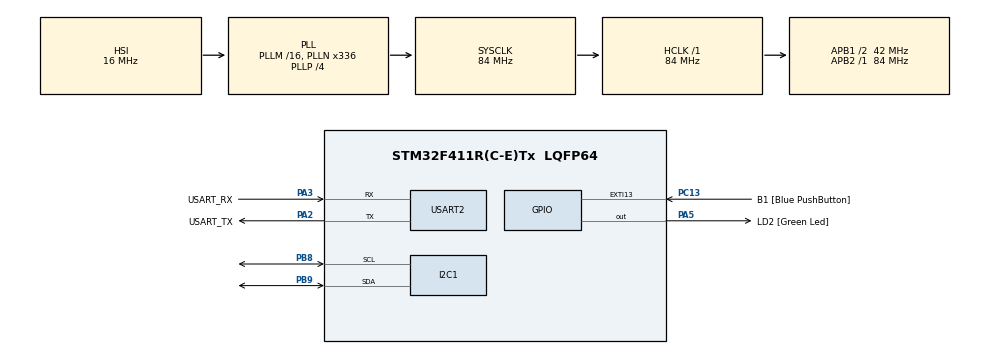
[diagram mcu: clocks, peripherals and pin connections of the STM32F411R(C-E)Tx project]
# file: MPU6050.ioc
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Mcu.Family=STM32F4
Mcu.Name=STM32F411R(C-E)Tx
Mcu.Package=LQFP64
NVIC.PriorityGroup=NVIC_PRIORITYGROUP_0
PA13.GPIO_Label=TMS
PA13.Mode=Serial_Wire
PA13.Signal=SYS_JTMS-SWDIO
PA14.GPIO_Label=TCK
PA14.Mode=Serial_Wire
PA14.Signal=SYS_JTCK-SWCLK
PA2.GPIO_Label=USART_TX
PA2.Mode=Asynchronous
PA2.Signal=USART2_TX
PA3.GPIO_Label=USART_RX
PA3.Mode=Asynchronous
PA3.Signal=USART2_RX
PA5.GPIO_Label=LD2 [Green Led]
PA5.Signal=GPIO_Output
PB3.GPIO_Label=SWO
PB3.Signal=SYS_JTDO-SWO
PB8.Mode=I2C
PB8.Signal=I2C1_SCL
PB9.Mode=I2C
PB9.Signal=I2C1_SDA
PC13-ANTI_TAMP.GPIO_Label=B1 [Blue PushButton]
PC13-ANTI_TAMP.GPIO_ModeDefaultEXTI=GPIO_MODE_IT_FALLING
PC13-ANTI_TAMP.Signal=GPXTI13
PC14-OSC32_IN.Mode=LSE-External-Oscillator
PC14-OSC32_IN.Signal=RCC_OSC32_IN
PC15-OSC32_OUT.Mode=LSE-External-Oscillator
PC15-OSC32_OUT.Signal=RCC_OSC32_OUT
PH0\ -\ OSC_IN.Mode=HSE-External-Clock-Source
PH0\ -\ OSC_IN.Signal=RCC_OSC_IN
PH1\ -\ OSC_OUT.Mode=HSE-External-Clock-Source
PH1\ -\ OSC_OUT.Signal=RCC_OSC_OUT
ProjectManager.HeapSize=0x200
ProjectManager.StackSize=0x400
ProjectManager.TargetToolchain=STM32CubeIDE
RCC.48MHZClocksFreq_Value=84000000
RCC.AHBFreq_Value=84000000
RCC.APB1CLKDivider=RCC_HCLK_DIV2
RCC.APB1Freq_Value=42000000
RCC.APB1TimFreq_Value=84000000
RCC.APB2Freq_Value=84000000
RCC.APB2TimFreq_Value=84000000
RCC.CortexFreq_Value=84000000
RCC.FLatency-AdvancedSettings=FLASH_LATENCY_2
RCC.HCLKFreq_Value=84000000
RCC.HSE_VALUE=8000000
RCC.HSI_VALUE=16000000
RCC.PLLN=336
RCC.PLLP=RCC_PLLP_DIV4
RCC.SYSCLKFreq_VALUE=84000000
RCC.SYSCLKSource=RCC_SYSCLKSOURCE_PLLCLK
RCC.VCOOutputFreq_Value=336000000
USART2.VirtualMode=VM_ASYNC
board=NUCLEO-F411RE

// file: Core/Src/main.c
/* USER CODE BEGIN Header */
/**
  ******************************************************************************
  * @file           : main.c
  * @brief          : Main program body
  ******************************************************************************
  * @attention
  *
  * Copyright (c) 2026 STMicroelectronics.
  * All rights reserved.
  *
  * This software is licensed under terms that can be found in the LICENSE file
  * in the root directory of this software component.
  * If no LICENSE file comes with this software, it is provided AS-IS.
  *
  ******************************************************************************
  */
/* USER CODE END Header */
#include "main.h"
#include "i2c.h"
#include "usart.h"
#include "gpio.h"

/* USER CODE BEGIN Includes */
#include <stdio.h>
#include <string.h>
/* USER CODE END Includes */

/* USER CODE BEGIN PD */
#define SR2_BUSY	(1U<<1)
#define CR1_START	(1U<<8)
#define SR1_SB		(1U<<0)
#define SR1_ADDR	(1U<<1)
#define SR1_TXE		(1U<<7)
#define CR1_ACK		(1U<<10)
#define CR1_STOP	(1U<<9)
#define SR1_RXNE	(1U<<6)
#define SR1_BTF		(1U<<2)
/*
* PB8 ----- SCL
* PB9 ----- SDA
* */
/* USER CODE END PD */

/* USER CODE BEGIN PV */
// массив данных
// [accX, accY, accZ, temp, gyrX, gyrY, gyrZ]
// acc - ускорение, gyr - угловая скорость, temp - температура (raw)
int16_t data[7];
/* USER CODE END PV */

void SystemClock_Config(void);
/* USER CODE BEGIN PFP */
int I2C1_byteRead(char saddr, char maddr, uint8_t* data);
int I2C1_byteWrite(char saddr, char maddr, uint8_t* data);

void i2c1_byte_read(char saddr, char maddr, char* data);
void i2c1_burst_read(char saddr, char maddr, int n, char* data);
void i2c1_burst_write(char saddr, char maddr, int n, char* data);
/* USER CODE END PFP */

/* USER CODE BEGIN 0 */
const int MPU_addr = 0x68; // адрес датчика
#ifdef __GNUC__
#define PUTCHAR_PROTOTYPE int __io_putchar(int ch)
#else
#define PUTCHAR_PROTOTYPE int fputc(int ch, FILE *f)
#endif

PUTCHAR_PROTOTYPE
{
	HAL_UART_Transmit(&huart2, (uint8_t*)&ch, 1, HAL_MAX_DELAY);
	return ch;
}
/* USER CODE END 0 */

int main(void)
{

  /* MCU Configuration--------------------------------------------------------*/

  /* Reset of all peripherals, Initializes the Flash interface and the Systick. */
  HAL_Init();

  /* Configure the system clock */
  SystemClock_Config();

  /* Initialize all configured peripherals */
  MX_GPIO_Init();
  MX_I2C1_Init();
  MX_USART2_UART_Init();

  /* Infinite loop */
  /* USER CODE BEGIN WHILE */

#define PWR_MGMT_1_REG    0x6B
#define SMPLRT_DIV_REG    0x19
#define ACCEL_CONFIG_REG  0x1C
#define ACCEL_XOUT_H_REG  0x3B
#define ACCEL_YOUT_H_REG  0x3D
#define ACCEL_ZOUT_H_REG  0x3F
#define TEMP_OUT_H_REG    0x41
#define GYRO_CONFIG_REG   0x1B
#define GYRO_XOUT_H_REG   0x43
#define GYRO_YOUT_H_REG   0x45
#define GYRO_ZOUT_H_REG   0X47

	uint8_t Configure=0;
	I2C1_byteWrite(MPU_addr,PWR_MGMT_1_REG, &Configure);
	Configure=0x7;
	I2C1_byteWrite(MPU_addr,SMPLRT_DIV_REG, &Configure);
	Configure=0x00;
	I2C1_byteWrite(MPU_addr,ACCEL_CONFIG_REG,&Configure);
	Configure=0x00;
	I2C1_byteWrite(MPU_addr,GYRO_CONFIG_REG, &Configure);

  uint8_t temp_data = 0b000001000;
  HAL_StatusTypeDef ret;
//  ret = HAL_I2C_Mem_Write(&hi2c1, MPU_addr << 1, 27, 1, &temp_data, 1, 100);
//  if (ret == HAL_OK)
//  {
//	  printf("Configuring gyroscope\r\n");
//  }
//  else
//  {
//	  printf("Failed to configure gyroscope\r\n");
//  }
//
//  temp_data = 0b000001000;
//  ret = HAL_I2C_Mem_Write(&hi2c1, MPU_addr << 1, 28, 1, &temp_data, 1, 100);
//  if (ret == HAL_OK)
//  {
//	  printf("Configuring accelerometer\r\n");
//  }
//  else
//  {
//	  printf("Failed to configure acceleromter\r\n");
//  }
//
//    temp_data = 0;
//    ret = HAL_I2C_Mem_Write(&hi2c1, MPU_addr << 1, 107, 1, &temp_data, 1, 100);
//    if (ret == HAL_OK)
//    {
//  	  printf("Exiting from sleep mode\r\n");
//    }
//    else
//    {
//  	  printf("Failed to exit from sleep mode\r\n");
//    }

    uint8_t raw_data[14];
  while (1)
  {
	  HAL_I2C_Mem_Read(&hi2c1, (MPU_addr << 1) + 1, 59, 1, raw_data, 14, 100);
	  for (uint8_t i = 0; i < 7; ++i)
	  {
		  data[i] = ((int16_t)raw_data[i * 2] << 8) | (int16_t)raw_data[i * 2 + 1];
	  }
	  printf("Sensor data: \t%d\t%d\t%d\t%d\t%d\t%d\t%d\r\n",
			  data[0], data[1], data[2], data[3], data[4], data[5], data[6]);
	  HAL_Delay(200);
    /* USER CODE END WHILE */

  }
}

void SystemClock_Config(void)
{
  RCC_OscInitTypeDef RCC_OscInitStruct = {0};
  RCC_ClkInitTypeDef RCC_ClkInitStruct = {0};

  /** Configure the main internal regulator output voltage
  */
  __HAL_RCC_PWR_CLK_ENABLE();
  __HAL_PWR_VOLTAGESCALING_CONFIG(PWR_REGULATOR_VOLTAGE_SCALE1);

  /** Initializes the RCC Oscillators according to the specified parameters
  * in the RCC_OscInitTypeDef structure.
  */
  RCC_OscInitStruct.OscillatorType = RCC_OSCILLATORTYPE_HSI;
  RCC_OscInitStruct.HSIState = RCC_HSI_ON;
  RCC_OscInitStruct.HSICalibrationValue = RCC_HSICALIBRATION_DEFAULT;
  RCC_OscInitStruct.PLL.PLLState = RCC_PLL_ON;
  RCC_OscInitStruct.PLL.PLLSource = RCC_PLLSOURCE_HSI;
  RCC_OscInitStruct.PLL.PLLM = 16;
  RCC_OscInitStruct.PLL.PLLN = 336;
  RCC_OscInitStruct.PLL.PLLP = RCC_PLLP_DIV4;
  RCC_OscInitStruct.PLL.PLLQ = 4;
  if (HAL_RCC_OscConfig(&RCC_OscInitStruct) != HAL_OK)
  {
    Error_Handler();
  }

  /** Initializes the CPU, AHB and APB buses clocks
  */
  RCC_ClkInitStruct.ClockType = RCC_CLOCKTYPE_HCLK|RCC_CLOCKTYPE_SYSCLK
                              |RCC_CLOCKTYPE_PCLK1|RCC_CLOCKTYPE_PCLK2;
  RCC_ClkInitStruct.SYSCLKSource = RCC_SYSCLKSOURCE_PLLCLK;
  RCC_ClkInitStruct.AHBCLKDivider = RCC_SYSCLK_DIV1;
  RCC_ClkInitStruct.APB1CLKDivider = RCC_HCLK_DIV2;
  RCC_ClkInitStruct.APB2CLKDivider = RCC_HCLK_DIV1;

  if (HAL_RCC_ClockConfig(&RCC_ClkInitStruct, FLASH_LATENCY_2) != HAL_OK)
  {
    Error_Handler();
  }
}

/* USER CODE BEGIN 4 */
// from book, not working
void i2c1_byte_read(char saddr, char maddr, char* data) {
	volatile int tmp;

	/* Wait until bus not busy */
	while (I2C1->SR2 & (SR2_BUSY)){}

	/* Generate start */
	I2C1->CR1 |= CR1_START;

	/* Wait until start flag is set */
	while (!(I2C1->SR1 & (SR1_SB))){}

	/* Transmit slave address + Write */
	I2C1->DR = saddr << 1;

	/* Wait until addr flag is set */
	while (!(I2C1->SR1 & (SR1_ADDR))){}

	/* Clear addr flag */
	tmp = I2C1->SR2;

	/* Send memory address */
	I2C1->DR = maddr;

	/*Wait until transmitter empty */
	while (!(I2C1->SR1 & SR1_TXE)){}

	/*Generate restart */
	I2C1->CR1 |= CR1_START;

	/* Wait until start flag is set */
	while (!(I2C1->SR1 & SR1_SB)){}

	/* Transmit slave address + Read */
	I2C1->DR = saddr << 1 | 1;

	/* Wait until addr flag is set */
	while (!(I2C1->SR1 & (SR1_ADDR))){}

	/* Disable Acknowledge */
	I2C1->CR1 &= ~CR1_ACK;

	/* Clear addr flag */
	tmp = I2C1->SR2;

	/* Generate stop after data received */
	I2C1->CR1 |= CR1_STOP;

	/* Wait until RXNE flag is set */
	while (!(I2C1->SR1 & SR1_RXNE)){}

	/* Read data from DR */
	*data++ = I2C1->DR;
}

// from book, not working
void i2c1_burst_write(char saddr, char maddr, int n, char* data) {
	volatile int tmp;

	/* Wait until bus not busy */
	while (I2C1->SR2 & (SR2_BUSY)){}

	/* Generate start */
	I2C1->CR1 |= CR1_START;

	/* Wait until start flag is set */
	while (!(I2C1->SR1 & (SR1_SB))){}

	/* Transmit slave address */
	I2C1->DR = saddr << 1;

	/* Wait until addr flag is set */
	while (!(I2C1->SR1 & (SR1_ADDR))){}

	/* Clear addr flag */
	tmp = I2C1->SR2;

	/* Wait until data register empty */
	while (!(I2C1->SR1 & (SR1_TXE))){}

	/* Send memory address */
	I2C1->DR = maddr;

	for (int i = 0; i < n; i++) {
		/* Wait until data register empty */
		while (!(I2C1->SR1 & (SR1_TXE))){}

		/* Transmit memory address */
		I2C1->DR = *data++;
	}

	/* Wait until transfer finished */
	while (!(I2C1->SR1 & (SR1_BTF))){}

	/* Generate stop */
	I2C1->CR1 |= CR1_STOP;
}

// it works!
// https://github.com/ENG-EDISON/STM32_I2C1_I2C2_USART2_MPU6050_BareMetal
int I2C1_byteRead(char saddr, char maddr,uint8_t* data)
{
	volatile uint32_t tmp=0;
	while (I2C1->SR2 & I2C_SR2_BUSY);       /* wait until bus not busy */
	I2C1->CR1 |= I2C_CR1_START;             /* generate start */
	while (!(I2C1->SR1 & I2C_SR1_SB));      /* wait until start flag is set */
	I2C1->DR = (uint8_t)saddr<<1;           /* transmit slave address + Write */
	while (!(I2C1->SR1 & I2C_SR1_ADDR));    /* wait until addr flag is set */
	tmp = I2C1->SR1;                				/* clear addr flag */
	tmp = I2C1->SR2;
	while (!(I2C1->SR1 & I2C_SR1_TXE));   	/* wait until data register empty */
	I2C1->DR = maddr;               				/* send memory address */
	while (!(I2C1->SR1 & I2C_SR1_TXE));    	/* wait until data register empty */
	I2C1->CR1 |= 0x100;             				/* generate restart */
	while (!(I2C1->SR1 & I2C_SR1_SB));      /* wait until start flag is set */
	I2C1->DR =(uint8_t)(saddr<< 1|0x1);     /*transmit slave address + Read */
	while (!(I2C1->SR1 & I2C_SR1_ADDR));    /* wait until addr flag is set */
	I2C1->CR1 &= ~I2C_CR1_ACK;            	/* Disable Acknowledge */
	tmp = I2C1->SR1;                				/* clear addr flag */
	tmp = I2C1->SR2;                				/* clear addr flag */
	while (!(I2C1->SR1 & I2C_SR1_RXNE));    /* Wait until RXNE flag is set */
	I2C1->CR1 |= I2C_CR1_STOP;            	/* generate stop after data received */
	*data++ = (uint8_t)I2C1->DR;            /* Read data from DR */
	return 0;
}

// it works!
// https://github.com/ENG-EDISON/STM32_I2C1_I2C2_USART2_MPU6050_BareMetal
int I2C1_byteWrite(char saddr, char maddr, uint8_t* data)
{
	volatile int tmp=0;
	while (I2C1->SR2 & I2C_SR2_BUSY);      /* wait until bus not busy */
	I2C1->CR1 |= 0x100; 										/* generate start */
	while (!(I2C1->SR1 & 1));/* wait until start flag is set */
	I2C1->DR = saddr << 1; /* transmit slave address */
	while(!(I2C1->SR1 & 2)); /* wait until addr flag is set */
	tmp = I2C1->SR2; /*clear addr flag */
	while (!(I2C1->SR1 & 0x80)); /* wait until data register empty */
	I2C1->DR = maddr; /* send memory address */
	while (!(I2C1->SR1 & 0x80)); /* wait until data register empty */
	I2C1->DR = *data; /* transmit data */
	while (!(I2C1->SR1 & 4)); /* wait until transfer finished */
	I2C1->CR1 |= 0x200; /* generate stop */
	return 0;
}
/* USER CODE END 4 */

void Error_Handler(void)
{
  __disable_irq();
  while (1)
  {
  }
}
